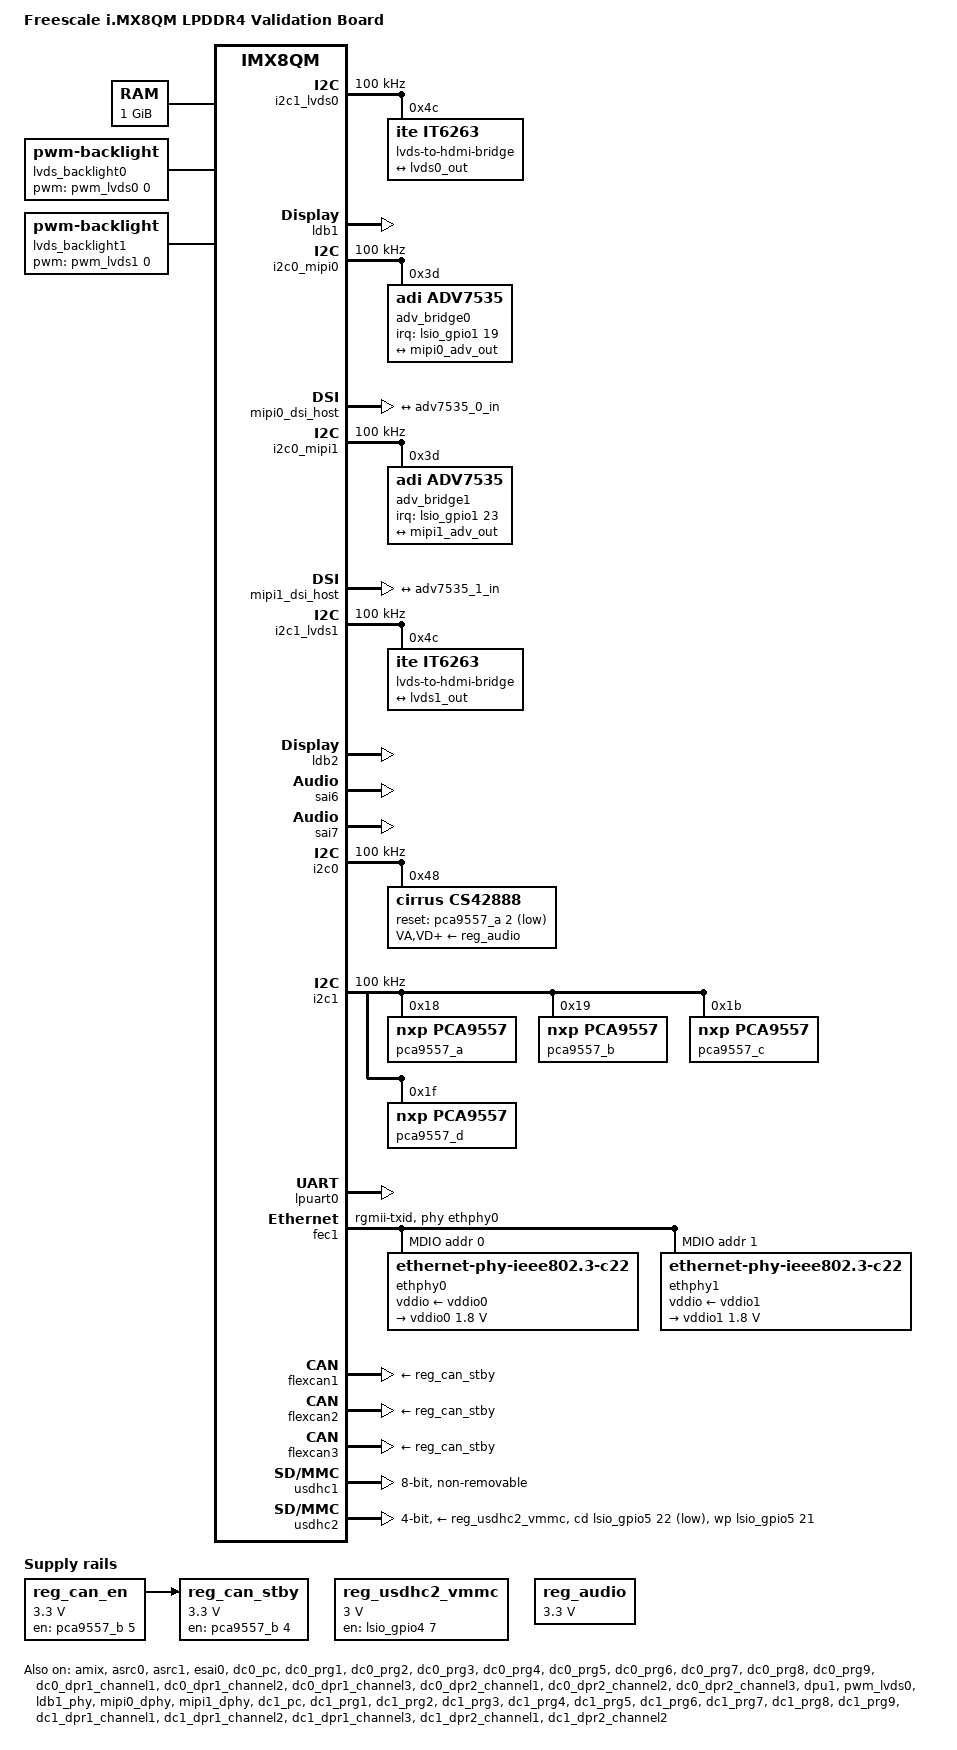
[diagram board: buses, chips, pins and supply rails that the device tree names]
// SPDX-License-Identifier: GPL-2.0+
/*
 * Copyright 2018-2019 NXP
 */

/dts-v1/;

#include <dt-bindings/usb/pd.h>
#include "imx8qm.dtsi"

/ {
	model = "Freescale i.MX8QM LPDDR4 Validation Board";
	compatible = "fsl,imx8qm-lpddr4-val", "fsl,imx8qm";

	chosen {
		stdout-path = &lpuart0;
	};

	memory@80000000 {
		device_type = "memory";
		reg = <0x00000000 0x80000000 0 0x40000000>;
	};

	lvds_backlight0: lvds-backlight-0 {
		compatible = "pwm-backlight";
		pwms = <&pwm_lvds0 0 100000 0>;

		brightness-levels = < 0  1  2  3  4  5  6  7  8  9
				     10 11 12 13 14 15 16 17 18 19
				     20 21 22 23 24 25 26 27 28 29
				     30 31 32 33 34 35 36 37 38 39
				     40 41 42 43 44 45 46 47 48 49
				     50 51 52 53 54 55 56 57 58 59
				     60 61 62 63 64 65 66 67 68 69
				     70 71 72 73 74 75 76 77 78 79
				     80 81 82 83 84 85 86 87 88 89
				     90 91 92 93 94 95 96 97 98 99
				    100>;
		default-brightness-level = <80>;
	};

	lvds_backlight1: lvds-backlight-1 {
		compatible = "pwm-backlight";
		pwms = <&pwm_lvds1 0 100000 0>;

		brightness-levels = < 0  1  2  3  4  5  6  7  8  9
				     10 11 12 13 14 15 16 17 18 19
				     20 21 22 23 24 25 26 27 28 29
				     30 31 32 33 34 35 36 37 38 39
				     40 41 42 43 44 45 46 47 48 49
				     50 51 52 53 54 55 56 57 58 59
				     60 61 62 63 64 65 66 67 68 69
				     70 71 72 73 74 75 76 77 78 79
				     80 81 82 83 84 85 86 87 88 89
				     90 91 92 93 94 95 96 97 98 99
				    100>;
		default-brightness-level = <80>;
	};

	reserved-memory {
		#address-cells = <2>;
		#size-cells = <2>;
		ranges;

		gpu_reserved: gpu_reserved@8800000000 {
			no-map;
			reg = <0x8 0x80000000 0 0x10000000>;
		};

		decoder_boot: decoder_boot@84000000 {
			no-map;
			reg = <0 0x84000000 0 0x2000000>;
		};

		encoder1_boot: encoder1_boot@86000000 {
			no-map;
			reg = <0 0x86000000 0 0x200000>;
		};

		encoder2_boot: encoder2_boot@86200000 {
			no-map;
			reg = <0 0x86200000 0 0x200000>;
		};

		decoder_rpc: decoder_rpc@92000000 {
			no-map;
			reg = <0 0x92000000 0 0x100000>;
		};

		dsp_reserved: dsp@92400000 {
			reg = <0 0x92400000 0 0x1000000>;
			no-map;
		};
		dsp_reserved_heap: dsp_reserved_heap@93400000 {
			reg = <0 0x93400000 0 0xef0000>;
			no-map;
		};
		dsp_vdev0vring0: vdev0vring0@942f0000 {
			reg = <0 0x942f0000 0 0x8000>;
			no-map;
		};
		dsp_vdev0vring1: vdev0vring1@942f8000 {
			reg = <0 0x942f8000 0 0x8000>;
			no-map;
		};
		dsp_vdev0buffer: vdev0buffer@94300000 {
			compatible = "shared-dma-pool";
			reg = <0 0x94300000 0 0x100000>;
			no-map;
		};
		encoder1_rpc: encoder1_rpc@94400000 {
			no-map;
			reg = <0 0x94400000 0 0x700000>;
		};
		encoder2_rpc: encoder1_rpc@94b00000 {
			no-map;
			reg = <0 0x94b00000 0 0x700000>;
		};

		/* global autoconfigured region for contiguous allocations */
		linux,cma {
			compatible = "shared-dma-pool";
			reusable;
			size = <0 0x3c000000>;
			alloc-ranges = <0 0xc0000000 0 0x3c000000>;
			linux,cma-default;
		};

	};

	reg_can_en: regulator-can-en {
		compatible = "regulator-fixed";
		regulator-name = "can-en";
		regulator-min-microvolt = <3300000>;
		regulator-max-microvolt = <3300000>;
		gpio = <&pca9557_b 5 GPIO_ACTIVE_HIGH>;
		enable-active-high;
	};

	reg_can_stby: regulator-can-stby {
		compatible = "regulator-fixed";
		regulator-name = "can-stby";
		regulator-min-microvolt = <3300000>;
		regulator-max-microvolt = <3300000>;
		gpio = <&pca9557_b 4 GPIO_ACTIVE_HIGH>;
		enable-active-high;
		vin-supply = <&reg_can_en>;
	};

	reg_usdhc2_vmmc: usdhc2-vmmc {
		compatible = "regulator-fixed";
		regulator-name = "SD1_SPWR";
		regulator-min-microvolt = <3000000>;
		regulator-max-microvolt = <3000000>;
		gpio = <&lsio_gpio4 7 GPIO_ACTIVE_HIGH>;
		enable-active-high;
	};

	reg_audio: regulator-reg-audio {
		compatible = "regulator-fixed";
		regulator-name = "cs42888_supply";
		regulator-min-microvolt = <3300000>;
		regulator-max-microvolt = <3300000>;
		regulator-always-on;
	};

	sound-cs42888 {
		compatible = "fsl,imx8qm-sabreauto-cs42888",
				"fsl,imx-audio-cs42888";
		model = "imx-cs42888";
		audio-cpu = <&esai0>;
		audio-codec = <&cs42888>;
		audio-asrc = <&asrc0>;
		audio-routing =
			"Line Out Jack", "AOUT1L",
			"Line Out Jack", "AOUT1R",
			"Line Out Jack", "AOUT2L",
			"Line Out Jack", "AOUT2R",
			"Line Out Jack", "AOUT3L",
			"Line Out Jack", "AOUT3R",
			"Line Out Jack", "AOUT4L",
			"Line Out Jack", "AOUT4R",
			"AIN1L", "Line In Jack",
			"AIN1R", "Line In Jack",
			"AIN2L", "Line In Jack",
			"AIN2R", "Line In Jack";
	};
};

&amix {
	status = "okay";
};

&asrc0 {
	assigned-clocks = <&clk IMX_SC_R_AUDIO_PLL_0 IMX_SC_PM_CLK_PLL>,
			<&clk IMX_SC_R_AUDIO_PLL_0 IMX_SC_PM_CLK_SLV_BUS>,
			<&clk IMX_SC_R_AUDIO_PLL_0 IMX_SC_PM_CLK_MST_BUS>;
	assigned-clock-rates = <786432000>, <49152000>, <24576000>;
	fsl,asrc-rate  = <48000>;
	status = "okay";
};

&asrc1 {
	fsl,asrc-rate = <48000>;
	assigned-clocks = <&clk IMX_SC_R_AUDIO_PLL_0 IMX_SC_PM_CLK_PLL>,
			<&clk IMX_SC_R_AUDIO_PLL_0 IMX_SC_PM_CLK_SLV_BUS>,
			<&clk IMX_SC_R_AUDIO_PLL_0 IMX_SC_PM_CLK_MST_BUS>;
	assigned-clock-rates = <786432000>, <49152000>, <24576000>;

	status = "okay";
};

&esai0 {
	pinctrl-names = "default";
	pinctrl-0 = <&pinctrl_esai0>;
	assigned-clocks = <&acm IMX_ADMA_ACM_ESAI0_MCLK_SEL>,
			<&clk IMX_SC_R_AUDIO_PLL_0 IMX_SC_PM_CLK_PLL>,
			<&clk IMX_SC_R_AUDIO_PLL_0 IMX_SC_PM_CLK_SLV_BUS>,
			<&clk IMX_SC_R_AUDIO_PLL_0 IMX_SC_PM_CLK_MST_BUS>,
			<&esai0_lpcg 0>;
	assigned-clock-parents = <&aud_pll_div0_lpcg 0>;
	assigned-clock-rates = <0>, <786432000>, <49152000>, <24576000>, <49152000>;
	status = "okay";
};

&dc0_pc {
	status = "okay";
};

&dc0_prg1 {
	status = "okay";
};

&dc0_prg2 {
	status = "okay";

};

&dc0_prg3 {
	status = "okay";
};

&dc0_prg4 {
	status = "okay";
};

&dc0_prg5 {
	status = "okay";
};

&dc0_prg6 {
	status = "okay";
};

&dc0_prg7 {
	status = "okay";
};

&dc0_prg8 {
	status = "okay";
};

&dc0_prg9 {
	status = "okay";
};

&dc0_dpr1_channel1 {
	status = "okay";
};

&dc0_dpr1_channel2 {
	status = "okay";
};

&dc0_dpr1_channel3 {
	status = "okay";
};

&dc0_dpr2_channel1 {
	status = "okay";
};

&dc0_dpr2_channel2 {
	status = "okay";
};

&dc0_dpr2_channel3 {
	status = "okay";
};

&dpu1 {
	status = "okay";
};

&pwm_lvds0 {
	pinctrl-names = "default";
	pinctrl-0 = <&pinctrl_pwm_lvds0>;
	status = "okay";
};

&i2c1_lvds0 {
	#address-cells = <1>;
	#size-cells = <0>;
	pinctrl-names = "default";
	pinctrl-0 = <&pinctrl_lvds0_lpi2c1>;
	clock-frequency = <100000>;
	status = "okay";

	lvds-to-hdmi-bridge@4c {
		compatible = "ite,it6263";
		reg = <0x4c>;

		port {
			it6263_0_in: endpoint {
				remote-endpoint = <&lvds0_out>;
			};
		};
	};
};

&ldb1_phy {
	status = "okay";
};

&ldb1 {
	status = "okay";

	lvds-channel@0 {
		fsl,data-mapping = "jeida";
		fsl,data-width = <24>;
		status = "okay";

		port@1 {
			reg = <1>;

			lvds0_out: endpoint {
				remote-endpoint = <&it6263_0_in>;
			};
		};
	};
};

&i2c0_mipi0 {
	#address-cells = <1>;
	#size-cells = <0>;
	pinctrl-names = "default";
	pinctrl-0 = <&pinctrl_mipi0_lpi2c0>;
	clock-frequency = <100000>;
	status = "okay";

	adv_bridge0: adv7535@3d {
		compatible = "adi,adv7535";
		reg = <0x3d>;
		adi,addr-cec = <0x3b>;
		adi,dsi-lanes = <4>;
		adi,dsi-channel = <1>;
		interrupt-parent = <&lsio_gpio1>;
		interrupts = <19 IRQ_TYPE_LEVEL_LOW>;
		status = "okay";

		port {
			adv7535_0_in: endpoint {
				remote-endpoint = <&mipi0_adv_out>;
			};
		};
	};
};

&mipi0_dphy {
	status = "okay";
};

&mipi0_dsi_host {
	status = "okay";

	ports {
		port@1 {
			reg = <1>;
			mipi0_adv_out: endpoint {
				remote-endpoint = <&adv7535_0_in>;
			};
		};
	};
};

&i2c0_mipi1 {
	#address-cells = <1>;
	#size-cells = <0>;
	pinctrl-names = "default";
	pinctrl-0 = <&pinctrl_mipi1_lpi2c0>;
	clock-frequency = <100000>;
	status = "okay";

	adv_bridge1: adv7535@3d {
		compatible = "adi,adv7535";
		reg = <0x3d>;
		adi,addr-cec = <0x3b>;
		adi,dsi-lanes = <4>;
		adi,dsi-channel = <1>;
		interrupt-parent = <&lsio_gpio1>;
		interrupts = <23 IRQ_TYPE_LEVEL_LOW>;
		status = "okay";

		port {
			adv7535_1_in: endpoint {
				remote-endpoint = <&mipi1_adv_out>;
			};
		};
	};
};

&mipi1_dphy {
	status = "okay";
};

&mipi1_dsi_host {
	status = "okay";

	ports {
		port@1 {
			reg = <1>;
			mipi1_adv_out: endpoint {
				remote-endpoint = <&adv7535_1_in>;
			};
		};
	};
};

&dc1_pc {
	status = "okay";
};

&dc1_prg1 {
	status = "okay";
};

&dc1_prg2 {
	status = "okay";

};

&dc1_prg3 {
	status = "okay";
};

&dc1_prg4 {
	status = "okay";
};

&dc1_prg5 {
	status = "okay";
};

&dc1_prg6 {
	status = "okay";
};

&dc1_prg7 {
	status = "okay";
};

&dc1_prg8 {
	status = "okay";
};

&dc1_prg9 {
	status = "okay";
};

&dc1_dpr1_channel1 {
	status = "okay";
};

&dc1_dpr1_channel2 {
	status = "okay";
};

&dc1_dpr1_channel3 {
	status = "okay";
};

&dc1_dpr2_channel1 {
	status = "okay";
};

&dc1_dpr2_channel2 {
	status = "okay";
};

&dc1_dpr2_channel3 {
	status = "okay";
};

&dpu2 {
	status = "okay";
};

&pwm_lvds1 {
	pinctrl-names = "default";
	pinctrl-0 = <&pinctrl_pwm_lvds1>;
	status = "okay";
};

&i2c1_lvds1 {
	#address-cells = <1>;
	#size-cells = <0>;
	pinctrl-names = "default";
	pinctrl-0 = <&pinctrl_lvds1_lpi2c1>;
	clock-frequency = <100000>;
	status = "okay";

	lvds-to-hdmi-bridge@4c {
		compatible = "ite,it6263";
		reg = <0x4c>;

		port {
			it6263_1_in: endpoint {
				remote-endpoint = <&lvds1_out>;
			};
		};
	};
};

&ldb2_phy {
	status = "okay";
};

&ldb2 {
	status = "okay";

	lvds-channel@0 {
		fsl,data-mapping = "jeida";
		fsl,data-width = <24>;
		status = "okay";

		port@1 {
			reg = <1>;

			lvds1_out: endpoint {
				remote-endpoint = <&it6263_1_in>;
			};
		};
	};
};

&sai6 {
	assigned-clocks = <&acm IMX_ADMA_ACM_SAI6_MCLK_SEL>,
			<&clk IMX_SC_R_AUDIO_PLL_1 IMX_SC_PM_CLK_PLL>,
			<&clk IMX_SC_R_AUDIO_PLL_1 IMX_SC_PM_CLK_SLV_BUS>,
			<&clk IMX_SC_R_AUDIO_PLL_1 IMX_SC_PM_CLK_MST_BUS>,
			<&sai6_lpcg 0>;
	assigned-clock-parents = <&aud_pll_div1_lpcg 0>;
	assigned-clock-rates = <0>, <786432000>, <98304000>, <24576000>, <98304000>;
	fsl,sai-asynchronous;
	fsl,txm-rxs;
	status = "okay";
};

&sai7 {
	assigned-clocks = <&acm IMX_ADMA_ACM_SAI7_MCLK_SEL>,
			<&clk IMX_SC_R_AUDIO_PLL_1 IMX_SC_PM_CLK_PLL>,
			<&clk IMX_SC_R_AUDIO_PLL_1 IMX_SC_PM_CLK_SLV_BUS>,
			<&clk IMX_SC_R_AUDIO_PLL_1 IMX_SC_PM_CLK_MST_BUS>,
			<&sai7_lpcg 0>;
	assigned-clock-parents = <&aud_pll_div1_lpcg 0>;
	assigned-clock-rates = <0>, <786432000>, <98304000>, <24576000>, <98304000>;
	fsl,sai-asynchronous;
	fsl,txm-rxs;
	status = "okay";
};

&i2c0 {
	#address-cells = <1>;
	#size-cells = <0>;
	pinctrl-names = "default";
	pinctrl-0 = <&pinctrl_lpi2c0>;
	clock-frequency = <100000>;
	status = "okay";

	cs42888: cs42888@48 {
		compatible = "cirrus,cs42888";
		reg = <0x48>;
		clocks = <&mclkout0_lpcg 0>;
		clock-names = "mclk";
		VA-supply = <&reg_audio>;
		VD-supply = <&reg_audio>;
		VLS-supply = <&reg_audio>;
		VLC-supply = <&reg_audio>;
		reset-gpio = <&pca9557_a 2 GPIO_ACTIVE_LOW>;
		assigned-clocks = <&clk IMX_SC_R_AUDIO_PLL_0 IMX_SC_PM_CLK_PLL>,
				<&clk IMX_SC_R_AUDIO_PLL_0 IMX_SC_PM_CLK_SLV_BUS>,
				<&clk IMX_SC_R_AUDIO_PLL_0 IMX_SC_PM_CLK_MST_BUS>,
				<&mclkout0_lpcg 0>;
		assigned-clock-rates = <786432000>, <49152000>, <24576000>, <24576000>;
		status = "okay";
	};
};

&i2c1 {
	#address-cells = <1>;
	#size-cells = <0>;
	clock-frequency = <100000>;
	pinctrl-names = "default";
	pinctrl-0 = <&pinctrl_lpi2c1>;
	status = "okay";

	pca9557_a: gpio@18 {
		compatible = "nxp,pca9557";
		reg = <0x18>;
		gpio-controller;
		#gpio-cells = <2>;
	};

	pca9557_b: gpio@19 {
		compatible = "nxp,pca9557";
		reg = <0x19>;
		gpio-controller;
		#gpio-cells = <2>;
	};

	pca9557_c: gpio@1b {
		compatible = "nxp,pca9557";
		reg = <0x1b>;
		gpio-controller;
		#gpio-cells = <2>;
	};

	pca9557_d: gpio@1f {
		compatible = "nxp,pca9557";
		reg = <0x1f>;
		gpio-controller;
		#gpio-cells = <2>;
	};
};

&lpuart0 {
	pinctrl-names = "default";
	pinctrl-0 = <&pinctrl_lpuart0>;
	status = "okay";
};

&fec1 {
	pinctrl-names = "default";
	pinctrl-0 = <&pinctrl_fec1>;
	phy-mode = "rgmii-txid";
	phy-handle = <&ethphy0>;
	fsl,magic-packet;
	nvmem-cells = <&fec_mac0>;
	nvmem-cell-names = "mac-address";
	rx-internal-delay-ps = <2000>;
	status = "okay";

	mdio {
		#address-cells = <1>;
		#size-cells = <0>;

		ethphy0: ethernet-phy@0 {
			compatible = "ethernet-phy-ieee802.3-c22";
			reg = <0>;
			qca,disable-smarteee;
			vddio-supply = <&vddio0>;

			vddio0: vddio-regulator {
				regulator-min-microvolt = <1800000>;
				regulator-max-microvolt = <1800000>;
			};
		};

		ethphy1: ethernet-phy@1 {
			compatible = "ethernet-phy-ieee802.3-c22";
			reg = <1>;
			qca,disable-smarteee;
			vddio-supply = <&vddio1>;

			vddio1: vddio-regulator {
				regulator-min-microvolt = <1800000>;
				regulator-max-microvolt = <1800000>;
			};
		};
	};
};

&flexcan1 {
	pinctrl-names = "default";
	pinctrl-0 = <&pinctrl_flexcan1>;
	xceiver-supply = <&reg_can_stby>;
	status = "okay";
};

&flexcan2 {
	pinctrl-names = "default";
	pinctrl-0 = <&pinctrl_flexcan2>;
	xceiver-supply = <&reg_can_stby>;
	status = "okay";
};

&flexcan3 {
	pinctrl-names = "default";
	pinctrl-0 = <&pinctrl_flexcan3>;
	xceiver-supply = <&reg_can_stby>;
	status = "okay";
};

&usdhc1 {
	pinctrl-names = "default", "state_100mhz", "state_200mhz";
	pinctrl-0 = <&pinctrl_usdhc1>;
	pinctrl-1 = <&pinctrl_usdhc1>;
	pinctrl-2 = <&pinctrl_usdhc1>;
	bus-width = <8>;
	no-sd;
	no-sdio;
	non-removable;
	status = "okay";
};

&usdhc2 {
	pinctrl-names = "default", "state_100mhz", "state_200mhz";
	pinctrl-0 = <&pinctrl_usdhc2>, <&pinctrl_usdhc2_gpio>;
	pinctrl-1 = <&pinctrl_usdhc2>, <&pinctrl_usdhc2_gpio>;
	pinctrl-2 = <&pinctrl_usdhc2>, <&pinctrl_usdhc2_gpio>;
	bus-width = <4>;
	vmmc-supply = <&reg_usdhc2_vmmc>;
	cd-gpios = <&lsio_gpio5 22 GPIO_ACTIVE_LOW>;
	wp-gpios = <&lsio_gpio5 21 GPIO_ACTIVE_HIGH>;
	status = "okay";
};

&iomuxc {
	pinctrl-names = "default";

	pinctrl_esai0: esai0grp {
		fsl,pins = <
			IMX8QM_ESAI0_FSR_AUD_ESAI0_FSR				0xc6000040
			IMX8QM_ESAI0_FST_AUD_ESAI0_FST				0xc6000040
			IMX8QM_ESAI0_SCKR_AUD_ESAI0_SCKR			0xc6000040
			IMX8QM_ESAI0_SCKT_AUD_ESAI0_SCKT			0xc6000040
			IMX8QM_ESAI0_TX0_AUD_ESAI0_TX0				0xc6000040
			IMX8QM_ESAI0_TX1_AUD_ESAI0_TX1				0xc6000040
			IMX8QM_ESAI0_TX2_RX3_AUD_ESAI0_TX2_RX3			0xc6000040
			IMX8QM_ESAI0_TX3_RX2_AUD_ESAI0_TX3_RX2			0xc6000040
			IMX8QM_ESAI0_TX4_RX1_AUD_ESAI0_TX4_RX1			0xc6000040
			IMX8QM_ESAI0_TX5_RX0_AUD_ESAI0_TX5_RX0			0xc6000040
			IMX8QM_MCLK_OUT0_AUD_ACM_MCLK_OUT0			0xc6000040
		>;
	};

	pinctrl_fec1: fec1grp {
		fsl,pins = <
			IMX8QM_COMP_CTL_GPIO_1V8_3V3_ENET_ENETB_PAD		0x000014a0
			IMX8QM_ENET0_MDC_CONN_ENET0_MDC				0x06000020
			IMX8QM_ENET0_MDIO_CONN_ENET0_MDIO			0x06000020
			IMX8QM_ENET0_RGMII_TX_CTL_CONN_ENET0_RGMII_TX_CTL	0x06000020
			IMX8QM_ENET0_RGMII_TXC_CONN_ENET0_RGMII_TXC		0x06000020
			IMX8QM_ENET0_RGMII_TXD0_CONN_ENET0_RGMII_TXD0		0x06000020
			IMX8QM_ENET0_RGMII_TXD1_CONN_ENET0_RGMII_TXD1		0x06000020
			IMX8QM_ENET0_RGMII_TXD2_CONN_ENET0_RGMII_TXD2		0x06000020
			IMX8QM_ENET0_RGMII_TXD3_CONN_ENET0_RGMII_TXD3		0x06000020
			IMX8QM_ENET0_RGMII_RXC_CONN_ENET0_RGMII_RXC		0x06000020
			IMX8QM_ENET0_RGMII_RX_CTL_CONN_ENET0_RGMII_RX_CTL	0x06000020
			IMX8QM_ENET0_RGMII_RXD0_CONN_ENET0_RGMII_RXD0		0x06000020
			IMX8QM_ENET0_RGMII_RXD1_CONN_ENET0_RGMII_RXD1		0x06000020
			IMX8QM_ENET0_RGMII_RXD2_CONN_ENET0_RGMII_RXD2		0x06000020
			IMX8QM_ENET0_RGMII_RXD3_CONN_ENET0_RGMII_RXD3		0x06000020
		>;
	};

	pinctrl_flexcan1: flexcan1grp {
		fsl,pins = <
			IMX8QM_FLEXCAN0_TX_DMA_FLEXCAN0_TX	0x21
			IMX8QM_FLEXCAN0_RX_DMA_FLEXCAN0_RX	0x21
		>;
	};

	pinctrl_flexcan2: flexcan2grp {
		fsl,pins = <
			IMX8QM_FLEXCAN1_TX_DMA_FLEXCAN1_TX	0x21
			IMX8QM_FLEXCAN1_RX_DMA_FLEXCAN1_RX	0x21
		>;
	};

	pinctrl_flexcan3: flexcan3grp {
		fsl,pins = <
			IMX8QM_FLEXCAN2_TX_DMA_FLEXCAN2_TX	0x21
			IMX8QM_FLEXCAN2_RX_DMA_FLEXCAN2_RX	0x21
		>;
	};

	pinctrl_lpi2c0: lpi2c0grp {
		fsl,pins = <
			IMX8QM_HDMI_TX0_TS_SCL_DMA_I2C0_SCL			0xc600004c
			IMX8QM_HDMI_TX0_TS_SDA_DMA_I2C0_SDA			0xc600004c
		>;
	};

	pinctrl_lpi2c1: lpi2c1grp {
		fsl,pins = <
			IMX8QM_GPT0_CLK_DMA_I2C1_SCL				0xc600004c
			IMX8QM_GPT0_CAPTURE_DMA_I2C1_SDA			0xc600004c
		>;
	};

	pinctrl_lpuart0: lpuart0grp {
		fsl,pins = <
			IMX8QM_UART0_RX_DMA_UART0_RX				0x06000020
			IMX8QM_UART0_TX_DMA_UART0_TX				0x06000020
		>;
	};

	pinctrl_pwm_lvds0: pwmlvds0grp {
		fsl,pins = <
			IMX8QM_LVDS0_GPIO00_LVDS0_PWM0_OUT		0x00000020
		>;
	};

	pinctrl_pwm_lvds1: pwmlvds1grp {
		fsl,pins = <
			IMX8QM_LVDS1_GPIO00_LVDS1_PWM0_OUT		0x00000020
		>;
	};

	pinctrl_usdhc1: usdhc1grp {
		fsl,pins = <
			IMX8QM_EMMC0_CLK_CONN_EMMC0_CLK				0x06000041
			IMX8QM_EMMC0_CMD_CONN_EMMC0_CMD				0x00000021
			IMX8QM_EMMC0_DATA0_CONN_EMMC0_DATA0			0x00000021
			IMX8QM_EMMC0_DATA1_CONN_EMMC0_DATA1			0x00000021
			IMX8QM_EMMC0_DATA2_CONN_EMMC0_DATA2			0x00000021
			IMX8QM_EMMC0_DATA3_CONN_EMMC0_DATA3			0x00000021
			IMX8QM_EMMC0_DATA4_CONN_EMMC0_DATA4			0x00000021
			IMX8QM_EMMC0_DATA5_CONN_EMMC0_DATA5			0x00000021
			IMX8QM_EMMC0_DATA6_CONN_EMMC0_DATA6			0x00000021
			IMX8QM_EMMC0_DATA7_CONN_EMMC0_DATA7			0x00000021
			IMX8QM_EMMC0_STROBE_CONN_EMMC0_STROBE			0x00000041
		>;
	};

	pinctrl_usdhc2_gpio: usdhc2grpgpio {
		fsl,pins = <
			IMX8QM_USDHC1_DATA6_LSIO_GPIO5_IO21			0x00000021
			IMX8QM_USDHC1_DATA7_LSIO_GPIO5_IO22			0x00000021
			IMX8QM_USDHC1_RESET_B_LSIO_GPIO4_IO07			0x00000021
		>;
	};

	pinctrl_usdhc2: usdhc2grp {
		fsl,pins = <
			IMX8QM_USDHC1_CLK_CONN_USDHC1_CLK			0x06000041
			IMX8QM_USDHC1_CMD_CONN_USDHC1_CMD			0x00000021
			IMX8QM_USDHC1_DATA0_CONN_USDHC1_DATA0			0x00000021
			IMX8QM_USDHC1_DATA1_CONN_USDHC1_DATA1			0x00000021
			IMX8QM_USDHC1_DATA2_CONN_USDHC1_DATA2			0x00000021
			IMX8QM_USDHC1_DATA3_CONN_USDHC1_DATA3			0x00000021
			IMX8QM_USDHC1_VSELECT_CONN_USDHC1_VSELECT		0x00000021
		>;
	};

	pinctrl_lvds0_lpi2c1: lvds0lpi2c1grp {
		fsl,pins = <
			IMX8QM_LVDS0_I2C1_SCL_LVDS0_I2C1_SCL	0xc600004c
			IMX8QM_LVDS0_I2C1_SDA_LVDS0_I2C1_SDA	0xc600004c
		>;
	};

	pinctrl_lvds1_lpi2c1: lvds1lpi2c1grp {
		fsl,pins = <
			IMX8QM_LVDS1_I2C1_SCL_LVDS1_I2C1_SCL	0xc600004c
			IMX8QM_LVDS1_I2C1_SDA_LVDS1_I2C1_SDA	0xc600004c
		>;
	};

	pinctrl_mipi0_lpi2c0: mipi0_lpi2c0grp {
		fsl,pins = <
			IMX8QM_MIPI_DSI0_I2C0_SCL_MIPI_DSI0_I2C0_SCL      0xc6000020
			IMX8QM_MIPI_DSI0_I2C0_SDA_MIPI_DSI0_I2C0_SDA      0xc6000020
			IMX8QM_MIPI_DSI0_GPIO0_01_LSIO_GPIO1_IO19         0x00000020
		>;
	};

	pinctrl_mipi1_lpi2c0: mipi1_lpi2c0grp {
		fsl,pins = <
			IMX8QM_MIPI_DSI1_I2C0_SCL_MIPI_DSI1_I2C0_SCL      0xc6000020
			IMX8QM_MIPI_DSI1_I2C0_SDA_MIPI_DSI1_I2C0_SDA      0xc6000020
			IMX8QM_MIPI_DSI1_GPIO0_01_LSIO_GPIO1_IO23         0x00000020
		>;
	};
};

&gpu_3d0{
	status = "okay";
};

&gpu_3d1{
	status = "okay";
};

&imx8_gpu_ss {
	memory-region=<&gpu_reserved>;
	status = "okay";
};


&thermal_zones {
	pmic-thermal0 {
		polling-delay-passive = <250>;
		polling-delay = <2000>;
		thermal-sensors = <&tsens IMX_SC_R_PMIC_0>;
		trips {
			pmic_alert0: trip0 {
				temperature = <110000>;
				hysteresis = <2000>;
				type = "passive";
			};
			pmic_crit0: trip1 {
				temperature = <125000>;
				hysteresis = <2000>;
				type = "critical";
			};
		};
		cooling-maps {
			map0 {
				trip = <&pmic_alert0>;
				cooling-device =
				<&A53_0 THERMAL_NO_LIMIT THERMAL_NO_LIMIT>,
				<&A53_1 THERMAL_NO_LIMIT THERMAL_NO_LIMIT>,
				<&A53_2 THERMAL_NO_LIMIT THERMAL_NO_LIMIT>,
				<&A53_3 THERMAL_NO_LIMIT THERMAL_NO_LIMIT>,
				<&A72_0 THERMAL_NO_LIMIT THERMAL_NO_LIMIT>,
				<&A72_1 THERMAL_NO_LIMIT THERMAL_NO_LIMIT>;
			};
		};
	};
};
